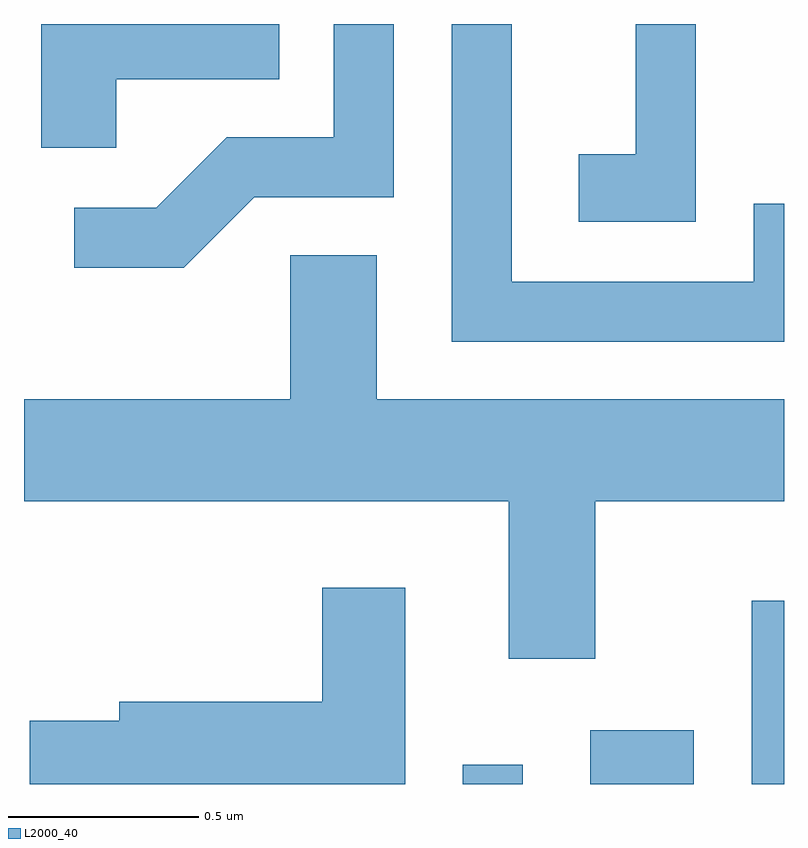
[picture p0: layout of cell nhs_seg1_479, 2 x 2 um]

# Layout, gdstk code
import gdstk
lib = gdstk.Library(unit=1e-6, precision=1e-09)
def R(c, l, rs):  # rectangles x0, y0, x1, y1
    for r in rs: c.add(gdstk.rectangle(r[:2], r[2:], *l))
def P(c, l, *ps):  # polygons
    for p in ps: c.add(gdstk.Polygon(p, *l))
L2000_40 = (2000, 40)

nhs_seg1_479 = lib.new_cell('nhs_seg1_479')
R(nhs_seg1_479, L2000_40, [(189.766,907.712,189.924,907.763), (190.101,907.712,190.374,907.854), (190.526,907.712,190.611,908.194)])
P(nhs_seg1_479, L2000_40, [(190.611,909.239),(190.531,909.239),(190.531,909.034),(189.894,909.034),(189.894,909.712),(189.736,909.712),(189.736,908.876),(190.611,908.876)],
  [(188.854,909.566),(189.283,909.566),(189.283,909.712),(188.656,909.712),(188.656,909.386),(188.854,909.386)],
  [(189.217,909.256),(189.584,909.256),(189.584,909.712),(189.426,909.712),(189.426,909.414),(189.144,909.414),(188.959,909.229),(188.743,909.229),(188.743,909.071),(189.032,909.071)],
  [(190.379,909.712),(190.221,909.712),(190.221,909.369),(190.071,909.369),(190.071,909.191),(190.379,909.191)],
  [(190.114,908.456),(190.611,908.456),(190.611,908.724),(189.539,908.724),(189.539,909.104),(189.311,909.104),(189.311,908.724),(188.611,908.724),(188.611,908.456),(189.886,908.456),(189.886,908.041),(190.114,908.041)],
  [(189.614,908.229),(189.396,908.229),(189.396,907.929),(188.861,907.929),(188.861,907.879),(188.626,907.879),(188.626,907.712),(189.614,907.712)])

lib.write_gds('nhs_seg1_479.gds')
